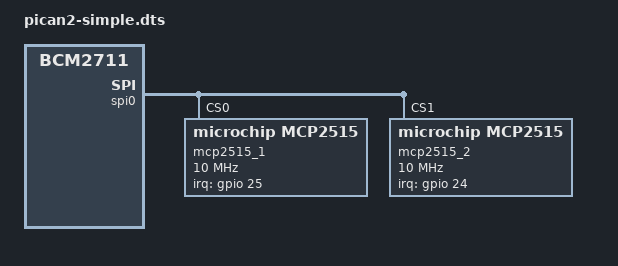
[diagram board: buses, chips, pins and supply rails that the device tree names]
/dts-v1/;
/plugin/;

/ {
    compatible = "brcm,bcm2711";

    fragment@0 {
        target = <&spi0>;
        __overlay__ {
            status = "okay";
            #address-cells = <1>;
            #size-cells = <0>;

            mcp2515_1: mcp2515@0 {
                compatible = "microchip,mcp2515";
                reg = <0>;
                spi-max-frequency = <10000000>;
                interrupt-parent = <&gpio>;
                interrupts = <25 8>; /* active low */
                oscillator-frequency = <16000000>;
                status = "okay";
            };
        };
    };

    fragment@1 {
        target = <&spi0>;
        __overlay__ {
            status = "okay";
            #address-cells = <1>;
            #size-cells = <0>;

            mcp2515_2: mcp2515@1 {
                compatible = "microchip,mcp2515";
                reg = <1>;
                spi-max-frequency = <10000000>;
                interrupt-parent = <&gpio>;
                interrupts = <24 8>; /* active low */
                oscillator-frequency = <16000000>;
                status = "okay";
            };
        };
    };

    fragment@2 {
        target = <&spidev0>;
        __overlay__ {
            status = "disabled";
        };
    };

    fragment@3 {
        target = <&spidev1>;
        __overlay__ {
            status = "disabled";
        };
    };

    __overrides__ {
        oscillator = <&mcp2515_1>,"oscillator-frequency:0", <&mcp2515_2>,"oscillator-frequency:0";
        spimaxfrequency = <&mcp2515_1>,"spi-max-frequency:0", <&mcp2515_2>,"spi-max-frequency:0";
        int_pin1 = <&mcp2515_1>,"interrupts:0";
        int_pin2 = <&mcp2515_2>,"interrupts:0";
    };
};
